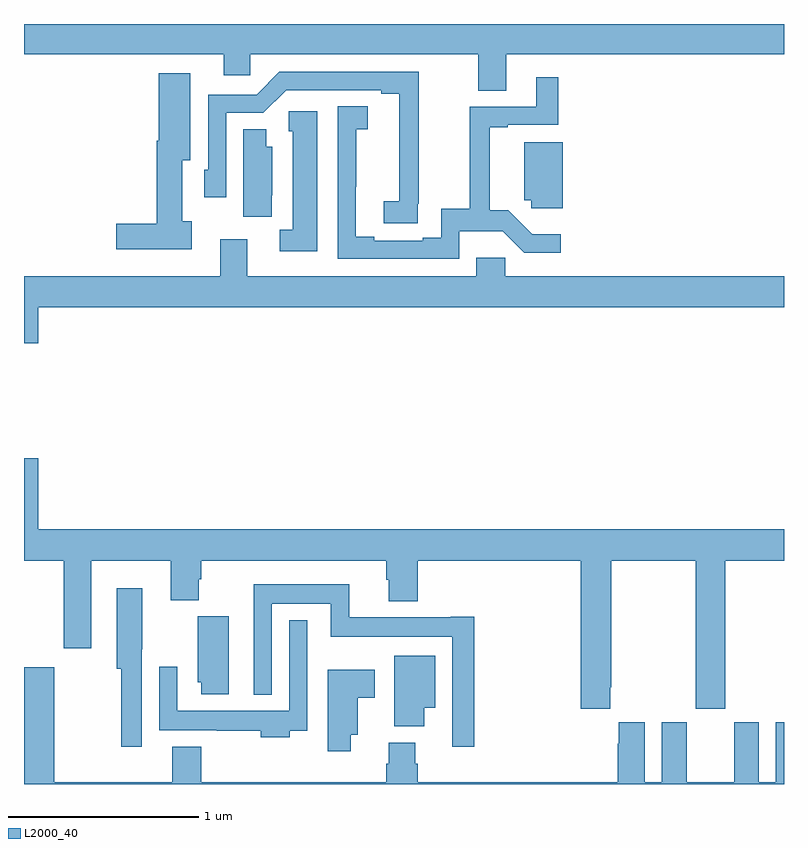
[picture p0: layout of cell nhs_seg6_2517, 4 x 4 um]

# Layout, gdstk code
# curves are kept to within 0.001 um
import gdstk
lib = gdstk.Library(unit=1e-6, precision=1e-09)
def P(c, l, *ps):  # polygons
    for p in ps: c.add(gdstk.Polygon(p, *l))
L2000_40 = (2000, 40)

nhs_seg6_2517 = lib.new_cell('nhs_seg6_2517')
P(nhs_seg6_2517, L2000_40, [(265,943.5),(261,943.5),(261,943.34),(262.052,943.34),(262.052,943.23),(262.191,943.23),(262.191,943.34),(263.392,943.34),(263.392,943.15),(263.539,943.15),(263.539,943.34),(265,943.34)],
  [(263.072,942.553),(263.078,942.553),(263.078,943.248),(262.344,943.248),(262.224,943.128),(261.969,943.128),(261.969,942.732),(261.948,942.732),(261.948,942.588),(262.065,942.588),(262.065,943.032),(262.26,943.032),(262.38,943.152),(262.88,943.152),(262.88,943.132),(262.976,943.132),(262.975,942.566),(262.893,942.566),(262.893,942.451),(263.072,942.451)],
  [(261.883,942.462),(261.832,942.462),(261.832,942.782),(261.874,942.782),(261.874,943.24),(261.71,943.24),(261.71,942.886),(261.698,942.886),(261.698,942.449),(261.486,942.449),(261.486,942.314),(261.883,942.314)],
  [(263.292,942.41),(263.521,942.41),(263.634,942.297),(263.824,942.297),(263.824,942.394),(263.675,942.394),(263.549,942.52),(263.45,942.52),(263.45,942.957),(263.545,942.957),(263.545,942.969),(263.813,942.969),(263.813,943.219),(263.696,943.219),(263.696,943.065),(263.347,943.065),(263.347,942.527),(263.196,942.527),(263.196,942.374),(263.099,942.374),(263.099,942.36),(262.843,942.36),(262.843,942.38),(262.747,942.38),(262.747,942.643),(262.749,942.643),(262.749,942.947),(262.81,942.947),(262.81,943.067),(262.65,943.067),(262.65,942.264),(263.292,942.264)],
  [(262.543,943.042),(262.393,943.042),(262.393,942.936),(262.415,942.936),(262.415,942.417),(262.347,942.417),(262.347,942.305),(262.543,942.305)],
  [(262.303,942.598),(262.306,942.598),(262.306,942.853),(262.276,942.853),(262.276,942.947),(262.154,942.947),(262.154,942.486),(262.303,942.486)],
  [(263.836,942.877),(263.633,942.877),(263.633,942.572),(263.67,942.572),(263.67,942.53),(263.836,942.53)],
  [(261,941.82),(261.076,941.82),(261.076,942.008),(265,942.008),(265,942.172),(263.533,942.172),(263.533,942.27),(263.381,942.27),(263.381,942.172),(262.174,942.172),(262.174,942.367),(262.034,942.367),(262.034,942.172),(261,942.172)],
  [(264.085,940.009),(264.09,940.009),(264.09,940.676),(264.535,940.676),(264.535,939.897),(264.69,939.897),(264.69,940.676),(265,940.676),(265,940.84),(261.076,940.84),(261.076,941.215),(261,941.215),(261,940.676),(261.208,940.676),(261.208,940.215),(261.355,940.215),(261.355,940.676),(261.772,940.676),(261.772,940.468),(261.919,940.468),(261.919,940.577),(261.932,940.577),(261.932,940.676),(262.907,940.676),(262.907,940.575),(262.919,940.575),(262.919,940.463),(263.072,940.463),(263.072,940.676),(263.93,940.676),(263.93,939.897),(264.085,939.897)],
  [(263.369,940.381),(263.246,940.381),(263.246,940.378),(262.712,940.378),(262.712,940.552),(262.208,940.552),(262.208,939.971),(262.305,939.971),(262.305,940.448),(262.614,940.448),(262.614,940.274),(263.253,940.274),(263.253,939.696),(263.369,939.696)],
  [(261.621,940.21),(261.622,940.21),(261.622,940.531),(261.488,940.531),(261.488,940.106),(261.513,940.106),(261.513,939.696),(261.621,939.696)],
  [(262.078,940.383),(261.914,940.383),(261.914,940.035),(261.932,940.035),(261.932,939.972),(262.078,939.972)],
  [(262.399,939.78),(262.491,939.78),(262.491,940.363),(262.395,940.363),(262.395,939.886),(261.807,939.886),(261.807,940.117),(261.711,940.117),(261.711,939.782),(262.015,939.782),(262.015,939.78),(262.247,939.78),(262.247,939.746),(262.399,939.746)],
  [(263.107,939.902),(263.164,939.902),(263.164,940.174),(262.949,940.174),(262.949,939.803),(263.107,939.803)],
  [(265,939.826),(264.956,939.826),(264.956,939.508),(264.868,939.508),(264.868,939.826),(264.737,939.826),(264.737,939.508),(264.487,939.508),(264.487,939.826),(264.356,939.826),(264.356,939.508),(264.268,939.508),(264.268,939.826),(264.131,939.826),(264.131,939.713),(264.125,939.713),(264.125,939.508),(263.072,939.508),(263.072,939.606),(263.059,939.606),(263.059,939.718),(262.919,939.718),(262.919,939.606),(262.907,939.606),(262.907,939.508),(261.932,939.508),(261.932,939.697),(261.779,939.697),(261.779,939.508),(261.16,939.508),(261.16,940.114),(261,940.114),(261,939.5),(265,939.5)],
  [(262.72,939.758),(262.756,939.758),(262.756,939.955),(262.846,939.955),(262.846,940.102),(262.598,940.102),(262.598,939.672),(262.72,939.672)])

lib.write_gds('nhs_seg6_2517.gds')
